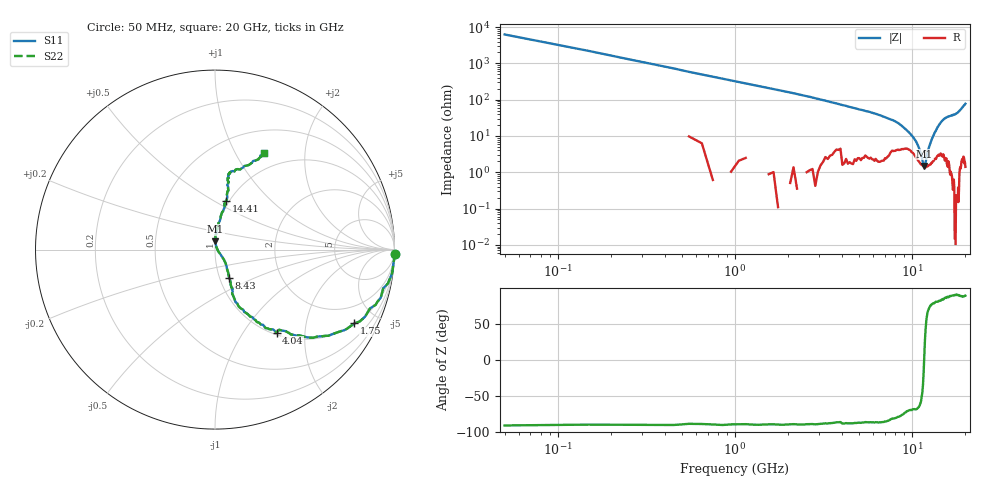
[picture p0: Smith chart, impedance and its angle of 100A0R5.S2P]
!  American Technical Ceramics  Date:  11/13/98
!  One Norden Lane
!  Huntington Station,  NY.  11746-2102
!  Tel:  (516) 622-4700  Fax:  (516) 622-4748
!  Part Number  100A0R5
!  Description: Porcelain, High Q, Low ESR
!  Application: Bypass, Coupling, Timing, Feedback
!  Tuning, Impedance Match, Blocking
# GHZ S DB R 50
! Freq  |S11|  S11 Ph  |S21|  S21 Ph  |S12|  S12 Ph  |S22|  S22 Ph
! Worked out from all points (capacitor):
!   201 points, 50 MHz to 20 GHz, reference 50 ohm
!   read as one part in series: C = 485 fF near 150 MHz
!   lowest |Z| = 1.49 ohm at 11.72 GHz (marker M1)
!   series resonance near 11.7 GHz, so ESL is about 380 pH
!   S11 on the Smith chart (normalised r, x): 50 MHz: -5, -91; 1.75 GHz: 1.04, -3.76; 4.04 GHz: 1.04, -1.43; 8.43 GHz: 1.11, -0.37; 14.41 GHz: 0.97, +0.57; 20 GHz: 0.77, +1.31
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0.05  0.01 -1.2  -35.94 90.0  -35.94 90.0  0.01 -1.2
0.15  0.01 -2.7  -26.84 87.5  -26.84 87.5  0.01 -2.7
0.25  -0.03 -4.5  -22.36 85.9  -22.36 85.9  -0.03 -4.5
0.55  -0.10 -9.3  -15.44 79.8  -15.44 79.8  -0.10 -9.3
1.05  -0.44 -17.8  -10.21 71.8  -10.21 71.8  -0.44 -17.8
1.75  -1.12 -27.9  -6.43 62.1  -6.43 62.1  -1.12 -27.9
3.44  -3.84 -47.6  -2.58 40.6  -2.58 40.6  -3.84 -47.6
4.04  -4.79 -53.4  -1.82 35.0  -1.82 35.0  -4.79 -53.4
6.73  -9.71 -67.4  -0.70 19.7  -0.70 19.7  -9.71 -67.4
8.43  -14.97 -63.7  -0.48 13.7  -0.48 13.7  -14.97 -63.7
10.03  -25.57 -45.1  -0.33 8.1  -0.33 8.1  -25.57 -45.1
10.42  -30.25 -37.3  -0.28 6.9  -0.28 6.9  -30.25 -37.3
10.82  -37.57 4.2  -0.25 5.6  -0.25 5.6  -37.57 4.2
10.92  -37.95 29.0  -0.24 5.3  -0.24 5.3  -37.95 29.0
11.72  -26.84 87.2  -0.23 2.5  -0.23 2.5  -26.84 87.2
12.32  -21.85 87.5  -0.25 0.5  -0.25 0.5  -21.85 87.5
13.42  -15.63 80.4  -0.38 -3.9  -0.38 -3.9  -15.63 80.4
14.41  -11.16 77.4  -0.67 -7.7  -0.67 -7.7  -11.16 77.4
15.41  -8.53 78.7  -1.05 -10.6  -1.05 -10.6  -8.53 78.7
16.71  -7.44 79.9  -1.28 -12.8  -1.28 -12.8  -7.44 79.9
18.3  -6.67 74.8  -1.66 -20.2  -1.66 -20.2  -6.67 74.8
20  -4.39 63.3  -3.37 -30.9  -3.37 -30.9  -4.39 63.3
